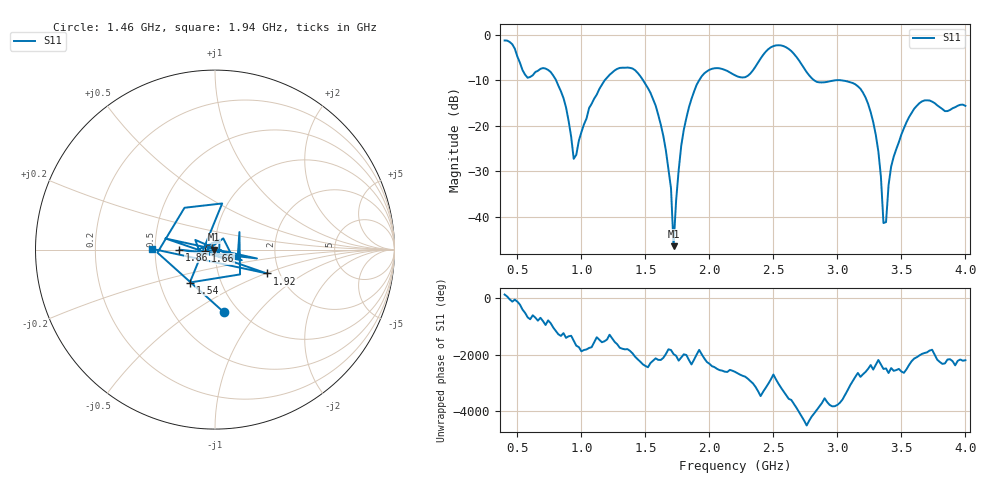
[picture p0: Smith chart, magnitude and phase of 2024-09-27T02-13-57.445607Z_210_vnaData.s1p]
!Created with skrf (http://scikit-rf.org).
# Hz S RI R 50.0
!freq ReS11 ImS11
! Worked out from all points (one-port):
!   181 points, 400 MHz to 4 GHz, reference 50 ohm
!   lowest |S11| = -46.5 dB at 1.72 GHz (marker M1), VSWR 1.01, Z = 49.5 - j0.0382 ohm
!   |S11| at or under -10 dB: 802.8 MHz to 1.18 GHz (377.7 MHz wide, 38.1 % of centre); 1.483 GHz to 1.919 GHz (436.3 MHz wide, 25.6 % of centre); 3.039 GHz to end of sweep (the widest 3 of 4)
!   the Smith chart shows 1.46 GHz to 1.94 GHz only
!   S11 on the Smith chart (normalised r, x): 1.46 GHz: 0.85, -0.68; 1.54 GHz: 0.71, -0.27; 1.66 GHz: 0.90, -0.01; 1.86 GHz: 0.67, -0.00; 1.92 GHz: 1.72, -0.51; 1.94 GHz: 0.48, +0.00
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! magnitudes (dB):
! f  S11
! 400 MHz  -1.2
! 580 MHz  -9.4
! 740 MHz  -7.7
! 860 MHz  -13.9
! 940 MHz  -27.2
! 1.06 GHz  -16.1
! 1.3 GHz  -7.2
! 1.46 GHz  -9.0
! 1.54 GHz  -12.7
! 1.66 GHz  -25.4
! 1.7 GHz  -33.7
! 1.72 GHz  -46.5
! 1.76 GHz  -29.7
! 1.86 GHz  -14.1
! 1.92 GHz  -10.0
! 1.94 GHz  -9.1
! 2.2 GHz  -8.9
! 2.5 GHz  -2.4
! 2.66 GHz  -4.1
! 2.84 GHz  -10.3
! 3.1 GHz  -10.4
! 3.28 GHz  -19.2
! 3.32 GHz  -25.6
! 3.36 GHz  -41.4
! 3.38 GHz  -41.2
! 3.42 GHz  -28.9
! 3.56 GHz  -18.0
! 4 GHz  -15.6
